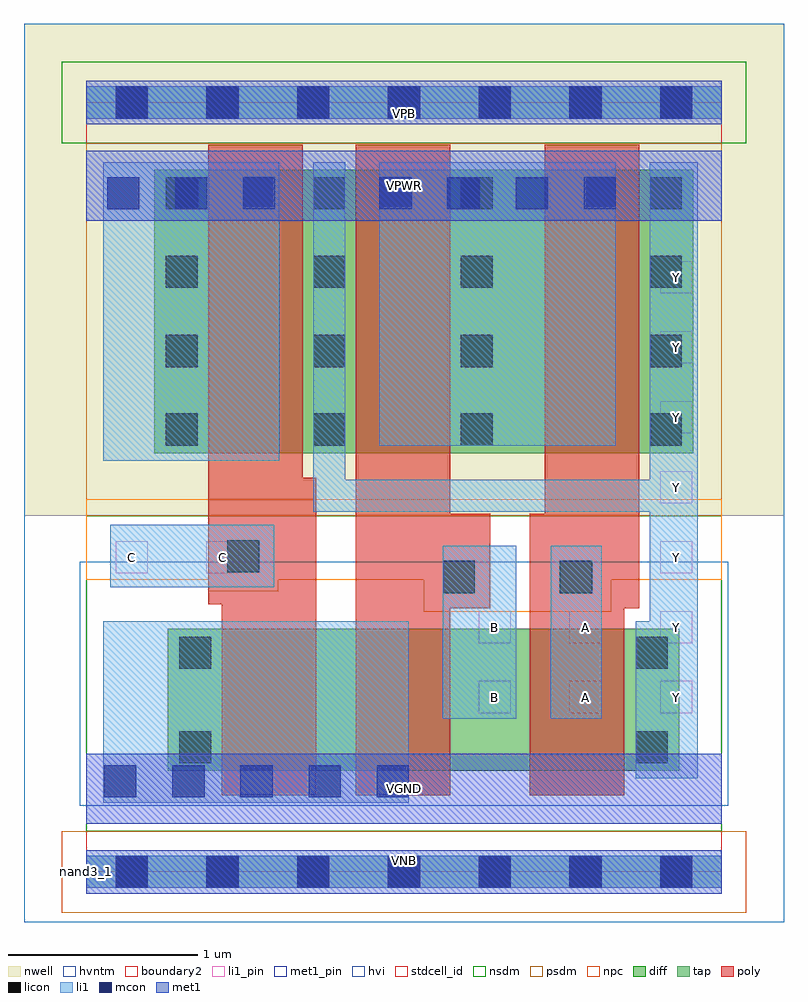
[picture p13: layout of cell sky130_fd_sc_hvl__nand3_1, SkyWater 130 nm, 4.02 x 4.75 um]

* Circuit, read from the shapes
.subckt sky130_fd_sc_hvl__nand3_1 A B C VGND VNB VPB VPWR Y
XM1 n1 C VGND VNB sky130_fd_pr__nfet_g5v0d10v5 w=0.75 l=0.5
XM2 n2 B n1 VNB sky130_fd_pr__nfet_g5v0d10v5 w=0.75 l=0.5
XM3 Y A n2 VNB sky130_fd_pr__nfet_g5v0d10v5 w=0.75 l=0.5
XM4 Y C VPWR VPB sky130_fd_pr__pfet_g5v0d10v5 w=1.5 l=0.5
XM5 VPWR B Y VPB sky130_fd_pr__pfet_g5v0d10v5 w=1.5 l=0.5
XM6 Y A VPWR VPB sky130_fd_pr__pfet_g5v0d10v5 w=1.5 l=0.5
.ends

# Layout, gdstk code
import gdstk
lib = gdstk.Library(unit=1e-6, precision=1e-09)
def R(c, l, rs):  # rectangles x0, y0, x1, y1
    for r in rs: c.add(gdstk.rectangle(r[:2], r[2:], *l))
def A(c, l, x, y, w, h, nx, ny, dx, dy):  # array of equal rectangles
    R(c, l, [(x+i*dx, y+j*dy, x+i*dx+w, y+j*dy+h) for i in range(nx) for j in range(ny)])
def P(c, l, *ps):  # polygons
    for p in ps: c.add(gdstk.Polygon(p, *l))
nwell = (64, 20)
diff = (65, 20)
tap = (65, 44)
poly = (66, 20)
licon = (66, 44)
li1_pin = (67, 16)
li1 = (67, 20)
mcon = (67, 44)
met1_pin = (68, 16)
met1 = (68, 20)
hvi = (75, 20)
stdcell_id = (81, 4)
nsdm = (93, 44)
psdm = (94, 20)
npc = (95, 20)
hvntm = (125, 20)
boundary2 = (236, 0)

sky130_fd_sc_hvl__nand3_ = lib.new_cell('sky130_fd_sc_hvl__nand3_1')
R(sky130_fd_sc_hvl__nand3_, nwell, [(-0.33,1.885,3.69,4.485)])
R(sky130_fd_sc_hvl__nand3_, diff, [(0.43,0.535,3.135,1.285), (0.36,2.215,3.21,3.715)])
R(sky130_fd_sc_hvl__nand3_, tap, [(0,-0.085,3.36,0.085), (0,3.985,3.36,4.155)])
P(sky130_fd_sc_hvl__nand3_, poly, [(1.215,2.085),(1.145,2.085),(1.145,3.845),(0.645,3.845),(0.645,1.415),(0.715,1.415),(0.715,0.405),(1.215,0.405)],
  [(2.135,1.895),(1.925,1.895),(1.925,3.845),(1.425,3.845),(1.425,0.405),(1.925,0.405),(1.925,1.395),(2.135,1.395)],
  [(2.925,3.845),(2.425,3.845),(2.425,1.895),(2.345,1.895),(2.345,0.405),(2.845,0.405),(2.845,1.395),(2.925,1.395)])
A(sky130_fd_sc_hvl__nand3_, licon, 0.155, -0.085, 0.17, 0.17, 7, 2, 0.48, 4.07)
A(sky130_fd_sc_hvl__nand3_, licon, 0.42, 2.255, 0.17, 0.17, 3, 2, 0.78, 0.415)
A(sky130_fd_sc_hvl__nand3_, licon, 0.42, 3.09, 0.17, 0.17, 3, 2, 0.78, 0.415)
R(sky130_fd_sc_hvl__nand3_, licon, [(0.49,0.575,0.66,0.745), (2.905,0.575,3.075,0.745), (0.49,1.075,0.66,1.245), (2.905,1.075,3.075,1.245), (1.885,1.475,2.055,1.645), (2.505,1.475,2.675,1.645), (0.745,1.585,0.915,1.755), (2.98,2.255,3.15,2.425), (2.98,2.67,3.15,2.84), (2.98,3.09,3.15,3.26), (2.98,3.505,3.15,3.675)])
A(sky130_fd_sc_hvl__nand3_, li1_pin, 2.075, 0.84, 0.17, 0.17, 3, 2, 0.48, 0.37)
A(sky130_fd_sc_hvl__nand3_, li1_pin, 3.035, 1.58, 0.17, 0.17, 1, 5, 0, 0.37)
R(sky130_fd_sc_hvl__nand3_, li1_pin, [(0.155,1.58,0.325,1.75), (0.635,1.58,0.805,1.75)])
R(sky130_fd_sc_hvl__nand3_, li1, [(0,-0.085,3.36,0.085), (0.09,0.365,1.705,1.325), (1.885,0.81,2.275,1.725), (2.455,0.81,2.725,1.725), (0.125,1.505,0.995,1.835), (0.09,2.175,1.02,3.755), (1.55,2.255,2.8,3.755), (0,3.985,3.36,4.155)])
P(sky130_fd_sc_hvl__nand3_, li1, [(3.235,3.755),(2.98,3.755),(2.98,2.075),(1.37,2.075),(1.37,3.755),(1.2,3.755),(1.2,1.905),(2.98,1.905),(2.98,1.325),(2.905,1.325),(2.905,0.495),(3.235,0.495)])
A(sky130_fd_sc_hvl__nand3_, mcon, 0.095, 0.395, 0.17, 0.17, 5, 1, 0.36, 0)
A(sky130_fd_sc_hvl__nand3_, mcon, 0.11, 3.505, 0.17, 0.17, 3, 1, 0.36, 0)
A(sky130_fd_sc_hvl__nand3_, mcon, 1.55, 3.505, 0.17, 0.17, 4, 1, 0.36, 0)
R(sky130_fd_sc_hvl__nand3_, mcon, [(0.155,-0.085,0.325,0.085), (0.155,-0.085,0.325,0.085), (0.635,-0.085,0.805,0.085), (0.635,-0.085,0.805,0.085), (1.115,-0.085,1.285,0.085), (1.115,-0.085,1.285,0.085), (1.595,-0.085,1.765,0.085), (1.595,-0.085,1.765,0.085), (2.075,-0.085,2.245,0.085), (2.075,-0.085,2.245,0.085), (2.555,-0.085,2.725,0.085), (2.555,-0.085,2.725,0.085), (3.035,-0.085,3.205,0.085), (3.035,-0.085,3.205,0.085), (0.155,3.985,0.325,4.155), (0.155,3.985,0.325,4.155), (0.635,3.985,0.805,4.155), (0.635,3.985,0.805,4.155), (1.115,3.985,1.285,4.155), (1.115,3.985,1.285,4.155), (1.595,3.985,1.765,4.155), (1.595,3.985,1.765,4.155), (2.075,3.985,2.245,4.155), (2.075,3.985,2.245,4.155), (2.555,3.985,2.725,4.155), (2.555,3.985,2.725,4.155), (3.035,3.985,3.205,4.155), (3.035,3.985,3.205,4.155)])
R(sky130_fd_sc_hvl__nand3_, met1_pin, [(0,0,3.36,0.115), (0,0.255,3.36,0.625), (0,3.445,3.36,3.815), (0,3.955,3.36,4.07)])
R(sky130_fd_sc_hvl__nand3_, met1, [(0,-0.115,3.36,0.115), (0,0.255,3.36,0.625), (0,3.445,3.36,3.815), (0,3.955,3.36,4.185)])
R(sky130_fd_sc_hvl__nand3_, hvi, [(-0.33,-0.265,3.69,4.485)])
R(sky130_fd_sc_hvl__nand3_, stdcell_id, [(0,0,3.36,4.07)])
R(sky130_fd_sc_hvl__nand3_, nsdm, [(0,0.215,3.36,1.885), (-0.13,3.855,3.49,4.285), (0,3.855,3.36,4.07)])
R(sky130_fd_sc_hvl__nand3_, psdm, [(-0.13,-0.215,3.49,0.215), (0,1.885,3.36,3.855)])
P(sky130_fd_sc_hvl__nand3_, npc, [(3.36,1.97),(0,1.97),(0,1.545),(0.645,1.545),(0.645,1.485),(1.015,1.485),(1.015,1.545),(1.785,1.545),(1.785,1.375),(2.775,1.375),(2.775,1.545),(3.36,1.545)])
R(sky130_fd_sc_hvl__nand3_, hvntm, [(-0.035,0.35,3.395,1.64)])
R(sky130_fd_sc_hvl__nand3_, boundary2, [(0,0,3.36,4.07)])
sky130_fd_sc_hvl__nand3_.add(gdstk.Label('nand3_1', (0,0), layer=83, texttype=44))
sky130_fd_sc_hvl__nand3_.add(gdstk.Label('VGND', (1.68,0.44), layer=68, texttype=5))
sky130_fd_sc_hvl__nand3_.add(gdstk.Label('VNB', (1.68,0.058), layer=68, texttype=5))
sky130_fd_sc_hvl__nand3_.add(gdstk.Label('VPWR', (1.68,3.63), layer=68, texttype=5))
sky130_fd_sc_hvl__nand3_.add(gdstk.Label('VPB', (1.68,4.013), layer=68, texttype=5))
sky130_fd_sc_hvl__nand3_.add(gdstk.Label('A', (2.64,0.925), layer=67, texttype=5))
sky130_fd_sc_hvl__nand3_.add(gdstk.Label('A', (2.64,1.295), layer=67, texttype=5))
sky130_fd_sc_hvl__nand3_.add(gdstk.Label('B', (2.16,0.925), layer=67, texttype=5))
sky130_fd_sc_hvl__nand3_.add(gdstk.Label('B', (2.16,1.295), layer=67, texttype=5))
sky130_fd_sc_hvl__nand3_.add(gdstk.Label('C', (0.24,1.665), layer=67, texttype=5))
sky130_fd_sc_hvl__nand3_.add(gdstk.Label('C', (0.72,1.665), layer=67, texttype=5))
sky130_fd_sc_hvl__nand3_.add(gdstk.Label('Y', (3.12,0.925), layer=67, texttype=5))
sky130_fd_sc_hvl__nand3_.add(gdstk.Label('Y', (3.12,1.295), layer=67, texttype=5))
sky130_fd_sc_hvl__nand3_.add(gdstk.Label('Y', (3.12,1.665), layer=67, texttype=5))
sky130_fd_sc_hvl__nand3_.add(gdstk.Label('Y', (3.12,2.035), layer=67, texttype=5))
sky130_fd_sc_hvl__nand3_.add(gdstk.Label('Y', (3.12,2.405), layer=67, texttype=5))
sky130_fd_sc_hvl__nand3_.add(gdstk.Label('Y', (3.12,2.775), layer=67, texttype=5))
sky130_fd_sc_hvl__nand3_.add(gdstk.Label('Y', (3.12,3.145), layer=67, texttype=5))

lib.write_gds('sky130_fd_sc_hvl__nand3_1.gds')
